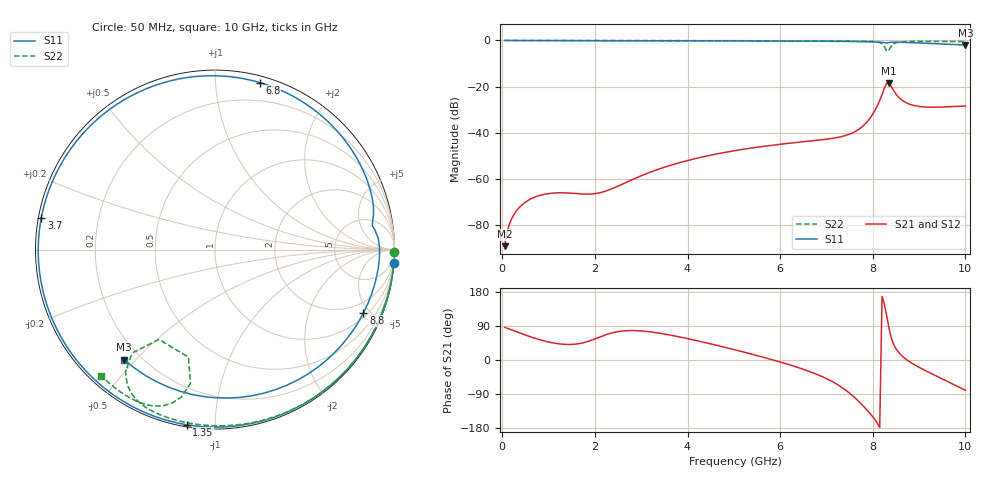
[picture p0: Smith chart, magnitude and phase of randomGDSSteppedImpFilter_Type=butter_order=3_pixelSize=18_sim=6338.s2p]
! freq	dB(S11)	phase(S11)	dB(S12)	phase(S12)
!  dB(S21)	phase(S21)	dB(S22)	phase(S22)
!S-par simulation data
#  GHz  S  DB  R 50
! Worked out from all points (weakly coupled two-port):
!   200 points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, 50 MHz to 10 GHz, reference 50 ohm
!   highest |S21| = -18.40 dB at 8.35 GHz (marker M1); lowest = -89.0 dB at 50 MHz (marker M2)
!   lowest |S11| = -2.0 dB at 10 GHz (marker M3), VSWR 8.76, Z = 6.95 - j23.2 ohm
!   |S11| at or under -10 dB: nowhere
!   |S22| runs from -4.6 to 0.0 dB; largest |S21 - S12| = 0
!   S11 on the Smith chart (normalised r, x): 50 MHz: 0, -28; 1.35 GHz: 0.01, -0.85; 3.7 GHz: 0.01, +0.09; 6.8 GHz: 0.05, +1.30; 8.8 GHz: 1.24, -4.56; 10 GHz: 0.14, -0.46
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0.05  -0.01 -4.2  -88.96 86.3  -88.96 86.3  -0.01 -0.8
0.15  -0.03 -12.6  -79.62 81.9  -79.62 81.9  -0.01 -2.3
0.4  -0.05 -33.5  -71.57 70.3  -71.57 70.3  -0.01 -6.2
0.7  -0.07 -56.8  -67.76 57.6  -67.76 57.6  -0.01 -10.8
1.35  -0.10 -99.2  -65.89 41.2  -65.89 41.2  -0.03 -20.7
1.75  -0.11 -119.9  -66.41 45.5  -66.41 45.5  -0.03 -26.7
2.5  -0.12 -151.3  -62.97 75.0  -62.97 75.0  -0.05 -37.8
3.4  -0.13 178.7  -55.49 70.6  -55.49 70.6  -0.07 -50.9
3.7  -0.14 169.7  -53.58 64.0  -53.58 64.0  -0.07 -55.1
5.05  -0.19 130.9  -47.55 26.1  -47.55 26.1  -0.11 -73.7
5.95  -0.24 103.8  -45.01 -3.5  -45.01 -3.5  -0.15 -85.7
6.7  -0.31 78.6  -43.38 -33.5  -43.38 -33.5  -0.19 -95.6
6.8  -0.32 75.0  -43.17 -38.3  -43.17 -38.3  -0.19 -96.9
7.75  -0.51 35.7  -37.65 -115.7  -37.65 -115.7  -0.30 -110.8
8  -0.63 23.3  -31.86 -150.1  -31.86 -150.1  -0.46 -116.6
8.2  -0.86 12.6  -23.39 167.8  -23.39 167.8  -1.46 -126.2
8.3  -1.05 8.7  -18.51 117.9  -18.51 117.9  -4.59 -121.9
8.35  -0.93 6.8  -18.40 84.2  -18.40 84.2  -4.20 -103.9
8.5  -0.75 -2.9  -23.16 29.9  -23.16 29.9  -1.02 -105.7
8.8  -0.92 -23.1  -27.60 -5.0  -27.60 -5.0  -0.47 -114.9
9.45  -1.51 -75.2  -28.81 -46.8  -28.81 -46.8  -0.43 -125.0
10  -1.99 -129.6  -28.35 -79.7  -28.35 -79.7  -0.47 -132.0
